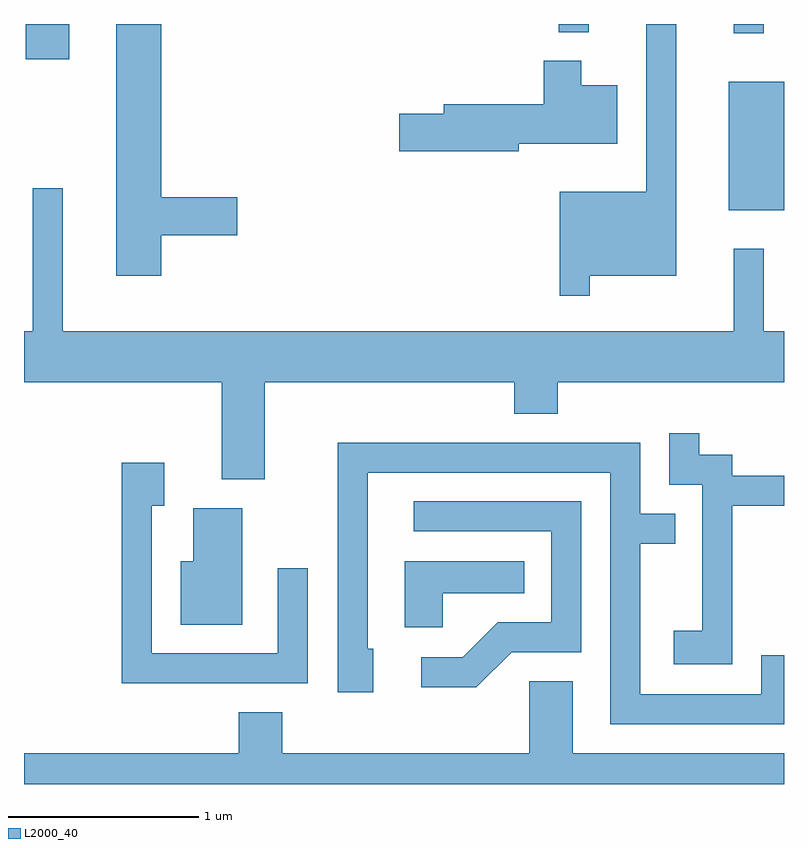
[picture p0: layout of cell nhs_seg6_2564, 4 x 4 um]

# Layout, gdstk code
import gdstk
lib = gdstk.Library(unit=1e-6, precision=1e-09)
def R(c, l, rs):  # rectangles x0, y0, x1, y1
    for r in rs: c.add(gdstk.rectangle(r[:2], r[2:], *l))
def P(c, l, *ps):  # polygons
    for p in ps: c.add(gdstk.Polygon(p, *l))
L2000_40 = (2000, 40)

nhs_seg6_2564 = lib.new_cell('nhs_seg6_2564')
R(nhs_seg6_2564, L2000_40, [(267.321,1533.181,267.611,1533.859), (263.621,1533.976,263.849,1534.162), (267.346,1534.113,267.504,1534.162), (266.426,1534.118,266.584,1534.162)])
P(nhs_seg6_2564, L2000_40, [(264.334,1533.051),(264.734,1533.051),(264.734,1533.249),(264.334,1533.249),(264.334,1534.162),(264.096,1534.162),(264.096,1532.836),(264.334,1532.836)],
  [(266.589,1532.836),(267.044,1532.836),(267.044,1534.162),(266.886,1534.162),(266.886,1533.279),(266.431,1533.279),(266.431,1532.733),(266.589,1532.733)],
  [(266.214,1533.531),(266.734,1533.531),(266.734,1533.839),(266.544,1533.839),(266.544,1533.969),(266.346,1533.969),(266.346,1533.739),(265.821,1533.739),(265.821,1533.689),(265.586,1533.689),(265.586,1533.491),(266.214,1533.491)],
  [(264.879,1532.276),(266.191,1532.276),(266.191,1532.111),(266.419,1532.111),(266.419,1532.276),(267.611,1532.276),(267.611,1532.544),(267.504,1532.544),(267.504,1532.978),(267.346,1532.978),(267.346,1532.544),(263.814,1532.544),(263.814,1533.298),(263.656,1533.298),(263.656,1532.544),(263.611,1532.544),(263.611,1532.276),(264.651,1532.276),(264.651,1531.766),(264.879,1531.766)],
  [(267.339,1531.626),(267.611,1531.626),(267.611,1531.784),(267.339,1531.784),(267.339,1531.894),(267.164,1531.894),(267.164,1532.008),(267.006,1532.008),(267.006,1531.736),(267.181,1531.736),(267.181,1530.969),(267.031,1530.969),(267.031,1530.791),(267.339,1530.791)],
  [(267.611,1530.839),(267.491,1530.839),(267.491,1530.634),(266.854,1530.634),(266.854,1531.426),(267.038,1531.426),(267.038,1531.584),(266.854,1531.584),(266.854,1531.959),(265.261,1531.959),(265.261,1530.646),(265.449,1530.646),(265.449,1530.874),(265.419,1530.874),(265.419,1531.801),(266.696,1531.801),(266.696,1530.476),(267.611,1530.476)],
  [(265.104,1531.298),(264.946,1531.298),(264.946,1530.849),(264.284,1530.849),(264.284,1531.626),(264.349,1531.626),(264.349,1531.854),(264.126,1531.854),(264.126,1530.691),(265.104,1530.691)],
  [(266.177,1530.856),(266.544,1530.856),(266.544,1531.649),(265.663,1531.649),(265.663,1531.491),(266.386,1531.491),(266.386,1531.014),(266.104,1531.014),(265.919,1530.829),(265.703,1530.829),(265.703,1530.671),(265.992,1530.671)],
  [(264.759,1531.614),(264.501,1531.614),(264.501,1531.334),(264.436,1531.334),(264.436,1531.001),(264.759,1531.001)],
  [(265.814,1531.166),(266.243,1531.166),(266.243,1531.334),(265.616,1531.334),(265.616,1530.986),(265.814,1530.986)],
  [(267.611,1530.324),(266.499,1530.324),(266.499,1530.704),(266.271,1530.704),(266.271,1530.324),(264.969,1530.324),(264.969,1530.539),(264.741,1530.539),(264.741,1530.324),(263.611,1530.324),(263.611,1530.162),(267.611,1530.162)])

lib.write_gds('nhs_seg6_2564.gds')
